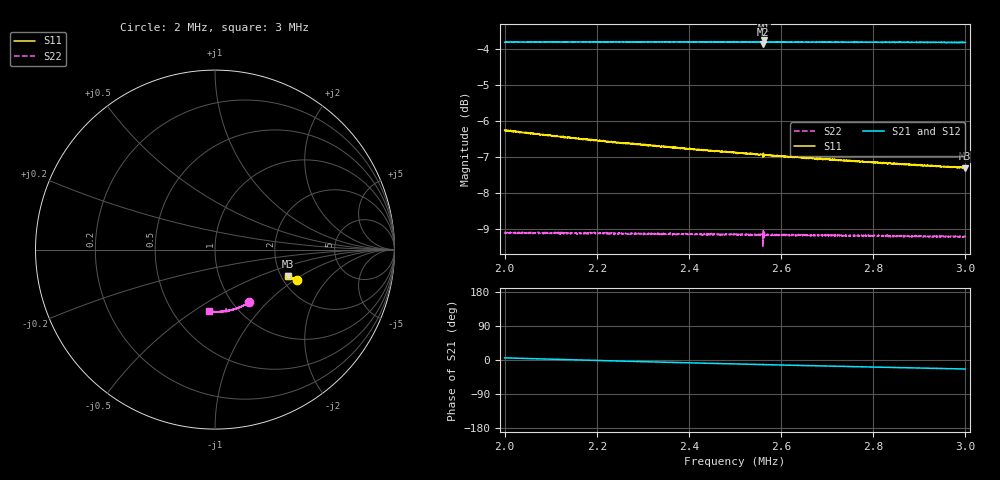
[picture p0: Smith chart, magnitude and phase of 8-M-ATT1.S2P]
!Keysight Technologies,E5063A,MY54504603,A.05.08
!Date: Wed Nov 25 12:44:24 2026
!Data & Calibration Information:
!Freq	S11:NONE(--)	S21:NONE(--)	S12:NONE(--)	S22:NONE(--)
# Hz S dB R 50
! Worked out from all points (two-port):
!   2001 points, 2 MHz to 3 MHz, reference 50 ohm
!   highest |S21| = -3.77 dB at 2.562 MHz (marker M1); lowest = -3.9 dB at 2.561 MHz (marker M2)
!   |S21| within 3 dB of the highest: start of sweep to end of sweep
!   lowest |S11| = -7.3 dB at 2.999 MHz (marker M3), VSWR 2.51, Z = 108 - j39 ohm
!   |S11| at or under -10 dB: nowhere
!   |S22| runs from -9.5 to -9.1 dB; largest |S21 - S12| = 0.0048
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2000000  -6.26 -20.4  -3.82 5.7  -3.81 5.6  -9.12 -57.3
2007000  -6.29 -20.4  -3.82 5.4  -3.81 5.4  -9.12 -57.6
2056000  -6.36 -20.4  -3.81 3.7  -3.81 3.6  -9.12 -59.6
2113500  -6.42 -20.4  -3.81 1.7  -3.81 1.6  -9.13 -61.9
2167000  -6.50 -20.4  -3.81 -0.0  -3.81 -0.2  -9.13 -64.1
2232500  -6.59 -20.5  -3.81 -2.2  -3.81 -2.3  -9.14 -66.5
2333500  -6.69 -20.4  -3.80 -5.4  -3.82 -5.5  -9.15 -70.5
2404000  -6.79 -20.4  -3.81 -7.5  -3.82 -7.6  -9.14 -73.3
2433500  -6.81 -20.4  -3.81 -8.4  -3.82 -8.5  -9.15 -74.3
2500000  -6.90 -20.3  -3.81 -10.4  -3.81 -10.5  -9.15 -76.8
2555000  -6.94 -20.4  -3.81 -11.9  -3.81 -12.1  -9.17 -78.9
2555500  -6.93 -20.4  -3.81 -12.0  -3.81 -12.1  -9.15 -78.9
2561000  -7.01 -20.7  -3.88 -12.3  -3.83 -12.5  -9.08 -80.7
2562000  -6.93 -20.2  -3.77 -12.0  -3.82 -11.9  -9.20 -78.3
2566000  -6.96 -20.3  -3.81 -12.3  -3.82 -12.4  -9.16 -79.4
2573000  -6.96 -20.3  -3.81 -12.4  -3.82 -12.5  -9.18 -79.5
2667000  -7.05 -20.3  -3.81 -15.0  -3.83 -15.2  -9.17 -83.1
2754500  -7.11 -20.2  -3.82 -17.4  -3.82 -17.6  -9.20 -86.4
2833500  -7.19 -20.2  -3.81 -19.5  -3.83 -19.6  -9.22 -89.2
2942000  -7.26 -20.1  -3.82 -22.3  -3.83 -22.4  -9.23 -93.2
2999500  -7.32 -19.9  -3.82 -23.7  -3.83 -23.9  -9.22 -95.2
3000000  -7.31 -20.0  -3.82 -23.7  -3.83 -23.9  -9.24 -95.2
